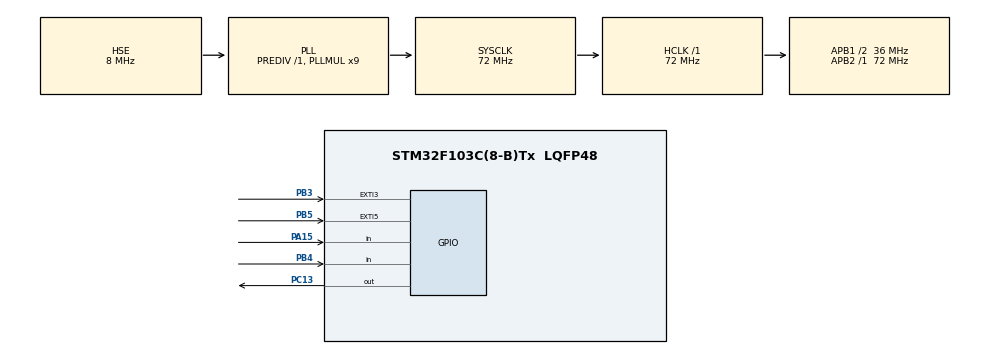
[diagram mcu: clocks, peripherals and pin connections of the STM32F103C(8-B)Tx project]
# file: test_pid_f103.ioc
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Mcu.Family=STM32F1
Mcu.Name=STM32F103C(8-B)Tx
Mcu.Package=LQFP48
NVIC.EXTI3_IRQn=true\:0\:0\:false\:false\:true\:true\:true
NVIC.EXTI9_5_IRQn=true\:0\:0\:false\:false\:true\:true\:true
NVIC.PriorityGroup=NVIC_PRIORITYGROUP_4
PA13.Mode=Serial_Wire
PA13.Signal=SYS_JTMS-SWDIO
PA14.Mode=Serial_Wire
PA14.Signal=SYS_JTCK-SWCLK
PA15.Signal=GPIO_Input
PB3.Signal=GPXTI3
PB4.Signal=GPIO_Input
PB5.Signal=GPXTI5
PC13-TAMPER-RTC.Signal=GPIO_Output
PD0-OSC_IN.Mode=HSE-External-Oscillator
PD0-OSC_IN.Signal=RCC_OSC_IN
PD1-OSC_OUT.Mode=HSE-External-Oscillator
PD1-OSC_OUT.Signal=RCC_OSC_OUT
ProjectManager.HeapSize=0x200
ProjectManager.StackSize=0x400
ProjectManager.TargetToolchain=MDK-ARM V5
RCC.AHBFreq_Value=72000000
RCC.APB1CLKDivider=RCC_HCLK_DIV2
RCC.APB1Freq_Value=36000000
RCC.APB1TimFreq_Value=72000000
RCC.APB2Freq_Value=72000000
RCC.APB2TimFreq_Value=72000000
RCC.HCLKFreq_Value=72000000
RCC.PLLMUL=RCC_PLL_MUL9
RCC.PLLSourceVirtual=RCC_PLLSOURCE_HSE
RCC.SYSCLKFreq_VALUE=72000000
RCC.SYSCLKSource=RCC_SYSCLKSOURCE_PLLCLK
RCC.USBFreq_Value=72000000
board=custom

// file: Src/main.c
/* USER CODE BEGIN Header */
/**
  ******************************************************************************
  * @file           : main.c
  * @brief          : Main program body
  ******************************************************************************
  * @attention
  *
  * <h2><center>&copy; Copyright (c) 2021 STMicroelectronics.
  * All rights reserved.</center></h2>
  *
  * This software component is licensed by ST under BSD 3-Clause license,
  * the "License"; You may not use this file except in compliance with the
  * License. You may obtain a copy of the License at:
  *                        opensource.org/licenses/BSD-3-Clause
  *
  ******************************************************************************
  */
/* USER CODE END Header */

#include "main.h"

void SystemClock_Config(void);
static void MX_GPIO_Init(void);
/* USER CODE BEGIN PFP */
float value=1,count_Left,count_Right,data_Left,data_Right, precount;
float error,flag,i,d,preError,ki=0.004,kp=2.5,kd=1.5,t=0;
int data_motor=0;
uint16_t duty=0, fade=4;
/* USER CODE END PFP */

int main(void)
{

  /* MCU Configuration--------------------------------------------------------*/

  /* Reset of all peripherals, Initializes the Flash interface and the Systick. */
  HAL_Init();

  /* Configure the system clock */
  SystemClock_Config();

  /* Initialize all configured peripherals */
  MX_GPIO_Init();
  /* USER CODE BEGIN 2 */
//	HAL_TIM_Base_Start_IT(&htim3);
//	HAL_TIM_PWM_Start(&htim4,TIM_CHANNEL_4);

  /* USER CODE END 2 */

  /* Infinite loop */
  while (1)
  {

  }
}

void SystemClock_Config(void)
{
  RCC_OscInitTypeDef RCC_OscInitStruct = {0};
  RCC_ClkInitTypeDef RCC_ClkInitStruct = {0};

  /** Initializes the CPU, AHB and APB busses clocks
  */
  RCC_OscInitStruct.OscillatorType = RCC_OSCILLATORTYPE_HSE;
  RCC_OscInitStruct.HSEState = RCC_HSE_ON;
  RCC_OscInitStruct.HSEPredivValue = RCC_HSE_PREDIV_DIV1;
  RCC_OscInitStruct.HSIState = RCC_HSI_ON;
  RCC_OscInitStruct.PLL.PLLState = RCC_PLL_ON;
  RCC_OscInitStruct.PLL.PLLSource = RCC_PLLSOURCE_HSE;
  RCC_OscInitStruct.PLL.PLLMUL = RCC_PLL_MUL9;
  if (HAL_RCC_OscConfig(&RCC_OscInitStruct) != HAL_OK)
  {
    Error_Handler();
  }
  /** Initializes the CPU, AHB and APB busses clocks
  */
  RCC_ClkInitStruct.ClockType = RCC_CLOCKTYPE_HCLK|RCC_CLOCKTYPE_SYSCLK
                              |RCC_CLOCKTYPE_PCLK1|RCC_CLOCKTYPE_PCLK2;
  RCC_ClkInitStruct.SYSCLKSource = RCC_SYSCLKSOURCE_PLLCLK;
  RCC_ClkInitStruct.AHBCLKDivider = RCC_SYSCLK_DIV1;
  RCC_ClkInitStruct.APB1CLKDivider = RCC_HCLK_DIV2;
  RCC_ClkInitStruct.APB2CLKDivider = RCC_HCLK_DIV1;

  if (HAL_RCC_ClockConfig(&RCC_ClkInitStruct, FLASH_LATENCY_2) != HAL_OK)
  {
    Error_Handler();
  }
}

static void MX_GPIO_Init(void)
{
  GPIO_InitTypeDef GPIO_InitStruct = {0};

  /* GPIO Ports Clock Enable */
  __HAL_RCC_GPIOC_CLK_ENABLE();
  __HAL_RCC_GPIOD_CLK_ENABLE();
  __HAL_RCC_GPIOA_CLK_ENABLE();
  __HAL_RCC_GPIOB_CLK_ENABLE();

  /*Configure GPIO pin Output Level */
  HAL_GPIO_WritePin(GPIOC, GPIO_PIN_13, GPIO_PIN_RESET);

  /*Configure GPIO pin : PC13 */
  GPIO_InitStruct.Pin = GPIO_PIN_13;
  GPIO_InitStruct.Mode = GPIO_MODE_OUTPUT_PP;
  GPIO_InitStruct.Pull = GPIO_NOPULL;
  GPIO_InitStruct.Speed = GPIO_SPEED_FREQ_LOW;
  HAL_GPIO_Init(GPIOC, &GPIO_InitStruct);

  /*Configure GPIO pin : PA15 */
  GPIO_InitStruct.Pin = GPIO_PIN_15;
  GPIO_InitStruct.Mode = GPIO_MODE_INPUT;
  GPIO_InitStruct.Pull = GPIO_NOPULL;
  HAL_GPIO_Init(GPIOA, &GPIO_InitStruct);

  /*Configure GPIO pins : PB3 PB5 */
  GPIO_InitStruct.Pin = GPIO_PIN_3|GPIO_PIN_5;
  GPIO_InitStruct.Mode = GPIO_MODE_IT_RISING;
  GPIO_InitStruct.Pull = GPIO_NOPULL;
  HAL_GPIO_Init(GPIOB, &GPIO_InitStruct);

  /*Configure GPIO pin : PB4 */
  GPIO_InitStruct.Pin = GPIO_PIN_4;
  GPIO_InitStruct.Mode = GPIO_MODE_INPUT;
  GPIO_InitStruct.Pull = GPIO_NOPULL;
  HAL_GPIO_Init(GPIOB, &GPIO_InitStruct);

  /* EXTI interrupt init*/
  HAL_NVIC_SetPriority(EXTI3_IRQn, 0, 0);
  HAL_NVIC_EnableIRQ(EXTI3_IRQn);

  HAL_NVIC_SetPriority(EXTI9_5_IRQn, 0, 0);
  HAL_NVIC_EnableIRQ(EXTI9_5_IRQn);

}

/* USER CODE BEGIN 4 */
void HAL_GPIO_EXTI_Callback(uint16_t GPIO_Pin)
{
//	if(ds<1000)
//	{
	if(GPIO_Pin==GPIO_PIN_3)
	{
	count_Left++;
	} else if(GPIO_Pin==GPIO_PIN_5)
	{
		count_Right++;
	}

//	HAL_GPIO_TogglePin(GPIOG,GPIO_PIN_13);
//	data1=HAL_GPIO_ReadPin(GPIOA, GPIO_PIN_0);
//	data2=HAL_GPIO_ReadPin(GPIOC, GPIO_PIN_1);
	if(HAL_GPIO_ReadPin(GPIOB, GPIO_PIN_3)==HAL_GPIO_ReadPin(GPIOA, GPIO_PIN_15))
	{
		data_Left=1;
	}else data_Left=2;
	if(HAL_GPIO_ReadPin(GPIOB, GPIO_PIN_5)==HAL_GPIO_ReadPin(GPIOB, GPIO_PIN_4))
	{
		data_Right=1;
	}else data_Right=2;
//}
}

/* USER CODE END 4 */

void Error_Handler(void)
{
}

/************************ (C) COPYRIGHT STMicroelectronics *****END OF FILE****/
